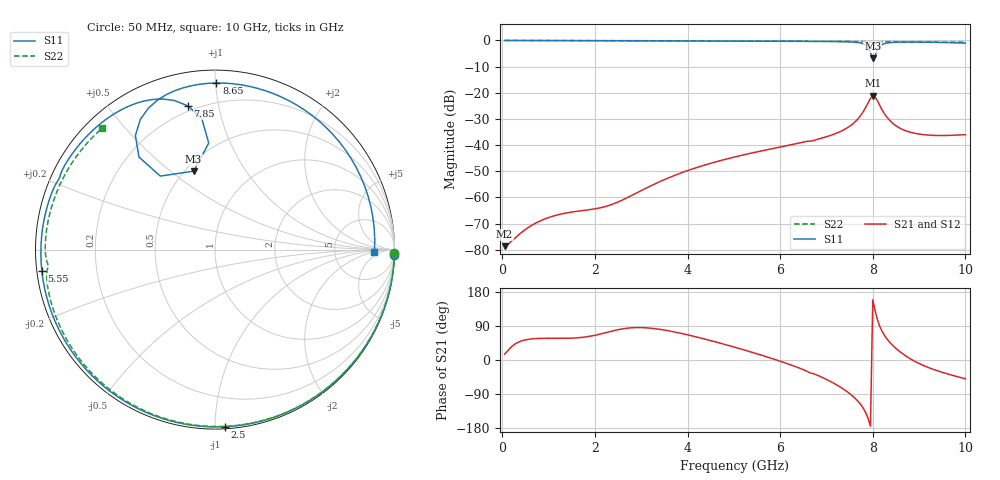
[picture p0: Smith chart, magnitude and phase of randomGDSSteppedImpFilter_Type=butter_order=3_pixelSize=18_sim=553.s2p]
! freq	dB(S11)	phase(S11)	dB(S12)	phase(S12)
!  dB(S21)	phase(S21)	dB(S22)	phase(S22)
!S-par simulation data
#  GHz  S  DB  R 50
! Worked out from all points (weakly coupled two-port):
!   200 points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, 50 MHz to 10 GHz, reference 50 ohm
!   highest |S21| = -21.16 dB at 8 GHz (marker M1); lowest = -78.6 dB at 50 MHz (marker M2)
!   lowest |S11| = -6.9 dB at 8 GHz (marker M3), VSWR 2.66, Z = 27.5 + j30.3 ohm
!   |S11| at or under -10 dB: nowhere
!   |S22| runs from -0.7 to 0.0 dB; largest |S21 - S12| = 0
!   S11 on the Smith chart (normalised r, x): 50 MHz: 0, -62; 2.5 GHz: 0.01, -1.06; 5.55 GHz: 0.01, -0.06; 7.85 GHz: 0.17, +0.81; 8.65 GHz: 0.07, +1.01; 10 GHz: 17, -2
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0.05  -0.00 -1.9  -78.61 15.4  -78.61 15.4  -0.00 -1.2
0.8  -0.03 -29.4  -69.11 57.0  -69.11 57.0  -0.02 -18.9
1.75  -0.08 -62.5  -64.97 60.1  -64.97 60.1  -0.05 -40.7
2.5  -0.10 -86.7  -61.73 80.0  -61.73 80.0  -0.07 -57.6
3.4  -0.14 -113.6  -53.95 80.9  -53.95 80.9  -0.10 -77.1
4.25  -0.17 -137.5  -48.27 59.0  -48.27 59.0  -0.13 -95.0
5.05  -0.21 -159.2  -44.39 32.7  -44.39 32.7  -0.17 -111.6
5.55  -0.25 -172.9  -42.38 14.5  -42.38 14.5  -0.20 -121.8
6.7  -0.37 153.7  -38.35 -35.3  -38.35 -35.3  -0.29 -145.6
7.45  -0.53 126.0  -33.38 -83.8  -33.38 -83.8  -0.36 -161.9
7.85  -1.78 100.7  -25.51 -139.6  -25.51 -139.6  -0.45 -171.2
7.95  -4.52 93.3  -22.14 -174.8  -22.14 -174.8  -0.54 -173.5
8  -6.88 105.3  -21.16 158.7  -21.16 158.7  -0.59 -174.3
8.05  -5.84 126.7  -21.54 130.3  -21.54 130.3  -0.59 -175.0
8.1  -3.51 129.4  -23.02 106.6  -23.02 106.6  -0.55 -175.9
8.2  -1.56 119.9  -26.48 75.9  -26.48 75.9  -0.50 -178.2
8.35  -0.87 107.7  -30.26 49.2  -30.26 49.2  -0.48 178.0
8.65  -0.65 89.5  -34.07 16.0  -34.07 16.0  -0.50 170.5
9  -0.65 69.5  -35.77 -9.3  -35.77 -9.3  -0.55 161.5
9.3  -0.71 51.0  -36.27 -24.5  -36.27 -24.5  -0.59 153.4
9.7  -0.86 23.1  -36.25 -39.8  -36.25 -39.8  -0.65 142.0
10  -1.03 -0.8  -36.00 -49.5  -36.00 -49.5  -0.69 133.0
